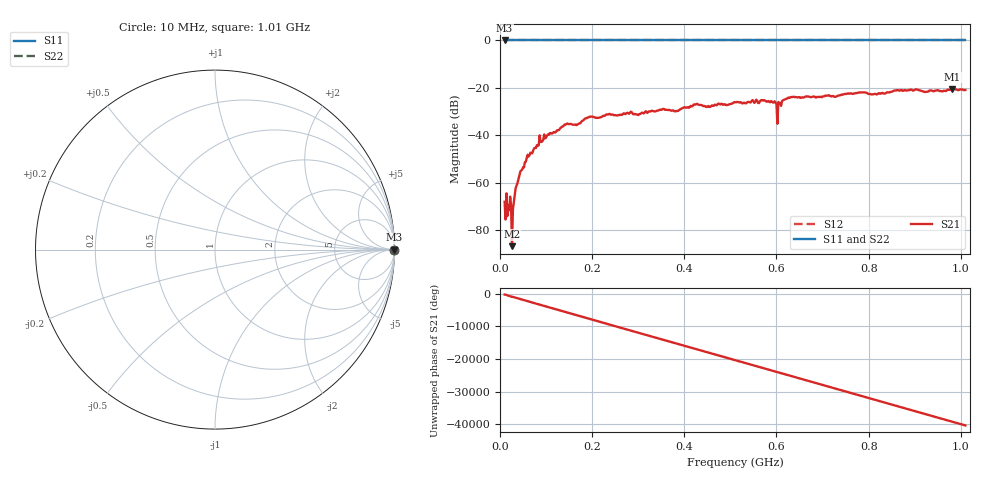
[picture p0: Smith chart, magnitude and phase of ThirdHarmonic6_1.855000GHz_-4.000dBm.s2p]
! 8/16/2025 10:26:13 PM
! C:\ANRITSUVNA\TEMP\TEMP.S2P
! CHANNEL.1
! TR.MEASUREMENT
! RAW.DATA
! RF.CORRECTION.OFF
! AVERAGING.OFF
! IF.BANDWIDTH: 5KHZ
! SWEEPTYPE:  FREQ.SWEEP(Linear)
! Reference Plane Port Info
! PORT:  PORT1  PORT2
! DISTANCE:  0  m  0  m
! TIME:  0  s  0  s
! PHASE.OFFSET:  0  deg.  0  deg.
! LOSS:  0  dB  0  dB
! REF.LOSS:  0  dB  0  dB
! REF.FREQ:  0  Hz  0  Hz
! Power Info
! POWER:  -20  dBm  -20  dBm
! EFF.POWER:  -20  dBm  -20  dBm
! SOURCE.ATTEN:  0  dB  0  dB
! TEST.ATTEN:  0  dB  0  dB
# GHZ S RI R 50.0
! FREQ.GHZ  S11RE  S11IM  S21RE  S21IM  S12RE  S12IM  S22RE  S22IM
!; PortSelection: Port_12
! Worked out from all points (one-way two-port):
!   501 points, 10 MHz to 1.01 GHz, reference 50 ohm
!   highest |S21| = -20.42 dB at 982 MHz (marker M1); lowest = -86.7 dB at 26 MHz (marker M2)
!   lowest |S11| = 0.0 dB at 10 MHz (marker M3)
!   |S11| at or under -10 dB: nowhere
!   |S22| runs from 0.0 to 0.0 dB; largest |S21 - S12| = 1.1
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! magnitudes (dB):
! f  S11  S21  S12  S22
! 10 MHz  0.0  -67.9  0.0  0.0
! 16 MHz  0.0  -74.0  0.0  0.0
! 18 MHz  0.0  -69.3  0.0  0.0
! 26 MHz  0.0  -86.7  0.0  0.0
! 30 MHz  0.0  -68.2  0.0  0.0
! 36 MHz  0.0  -61.0  0.0  0.0
! 46 MHz  0.0  -54.7  0.0  0.0
! 62 MHz  0.0  -48.9  0.0  0.0
! 84 MHz  0.0  -44.1  0.0  0.0
! 142 MHz  0.0  -35.5  0.0  0.0
! 178 MHz  0.0  -33.9  0.0  0.0
! 196 MHz  0.0  -32.1  0.0  0.0
! 344 MHz  0.0  -29.5  0.0  0.0
! 510 MHz  0.0  -26.0  0.0  0.0
! 572 MHz  0.0  -25.1  0.0  0.0
! 606 MHz  0.0  -26.3  0.0  0.0
! 608 MHz  0.0  -26.4  0.0  0.0
! 628 MHz  0.0  -24.2  0.0  0.0
! 678 MHz  0.0  -23.7  0.0  0.0
! 844 MHz  0.0  -21.9  0.0  0.0
! 982 MHz  0.0  -20.4  0.0  0.0
! 1.01 GHz  0.0  -20.9  0.0  0.0
